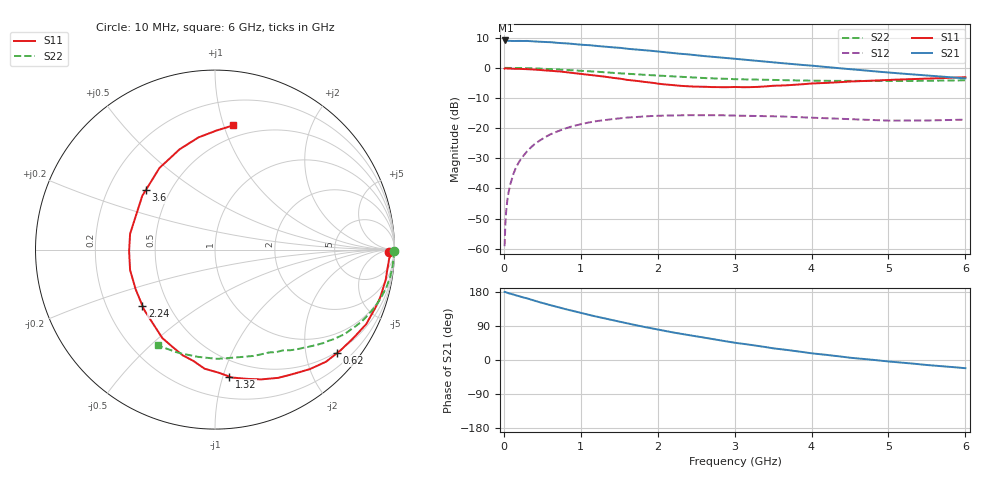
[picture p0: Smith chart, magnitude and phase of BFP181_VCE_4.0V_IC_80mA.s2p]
! Infineon Technologies  Discrete & RF Semiconductors
! BFP181
! VCE = 4.0 V,  IC =  80 mA
! Common Emitter S-Parameters:  Jan 2016
# GHz  S  MA  R  50
!  f  S11  S21  S12  S22
! GHz  MAG  ANG  MAG  ANG  MAG  ANG  MAG  ANG
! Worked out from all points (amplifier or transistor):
!   210 points, 10 MHz to 6 GHz, reference 50 ohm
!   highest |S21| = 9.1 dB at 20 MHz (marker M1)
!   |S21| within 3 dB of that: start of sweep to 1.716 GHz
!   unconditionally stable (mu >= 1): 3.257 GHz to end of sweep
!   at 185 MHz: K = 0.06, MSG = 20.3 dB, |S12| = -31.8 dB
!   at 1.52 GHz: K = 0.49, MSG = 11.7 dB, |S12| = -16.7 dB
!   at 6 GHz: K = 1.32, MAG = 3.4 dB, |S12| = -17.2 dB
!   S11 on the Smith chart (normalised r, x): 10 MHz: 54, -25; 620 MHz: 0.47, -2.66; 1.32 GHz: 0.37, -1.05; 2.24 GHz: 0.36, -0.30; 3.6 GHz: 0.37, +0.33; 6 GHz: 0.40, +1.08
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0.01  0.9699 -0.8  2.82 179.6  0.0011 90.9  0.9989 -0.3
0.02  0.9827 -1.6  2.845 179.4  0.0026 90.3  0.998 -0.6
0.035  0.9772 -2.2  2.827 178.2  0.0048 90.3  0.9974 -1.1
0.06  0.9705 -3.7  2.805 176.4  0.0084 88.4  0.9965 -1.9
0.115  0.9659 -7.7  2.786 173.3  0.016 83.8  0.995 -3.6
0.16  0.9646 -10.7  2.789 170.7  0.0224 82.5  0.994 -5.0
0.3  0.951 -19.7  2.795 162.8  0.0409 76.6  0.9867 -9.2
0.5  0.9146 -32.7  2.695 150.4  0.0662 67.9  0.9671 -15.1
0.62  0.8921 -40.2  2.657 144.0  0.0803 62.6  0.9516 -18.6
0.8  0.8503 -51.5  2.562 134.3  0.0987 55.7  0.9258 -23.4
1.02  0.7899 -65.1  2.409 123.3  0.1175 47.7  0.8917 -28.7
1.1  0.7676 -70.4  2.387 119.1  0.1238 44.9  0.8782 -30.5
1.32  0.7118 -83.6  2.24 109.2  0.1366 37.5  0.8422 -35.3
1.5  0.6661 -95.0  2.157 101.0  0.1448 32.5  0.8119 -38.7
2.02  0.5437 -128.3  1.858 79.7  0.1605 20.2  0.7424 -47.2
2.24  0.5109 -142.4  1.734 71.4  0.1628 15.5  0.7168 -50.9
2.78  0.4784 -177.7  1.5 52.8  0.1636 6.5  0.6666 -58.8
3.1  0.4776 164.2  1.373 43.0  0.1605 2.3  0.6438 -63.6
3.6  0.5084 139.4  1.201 28.5  0.1561 -2.7  0.6262 -71.5
4.1  0.5556 121.1  1.057 15.6  0.1473 -6.0  0.6102 -80.7
5.1  0.6371 96.4  0.817 -5.6  0.1332 -6.3  0.6046 -101.4
6  0.6992 81.7  0.668 -21.7  0.1383 -1.8  0.6221 -120.9
